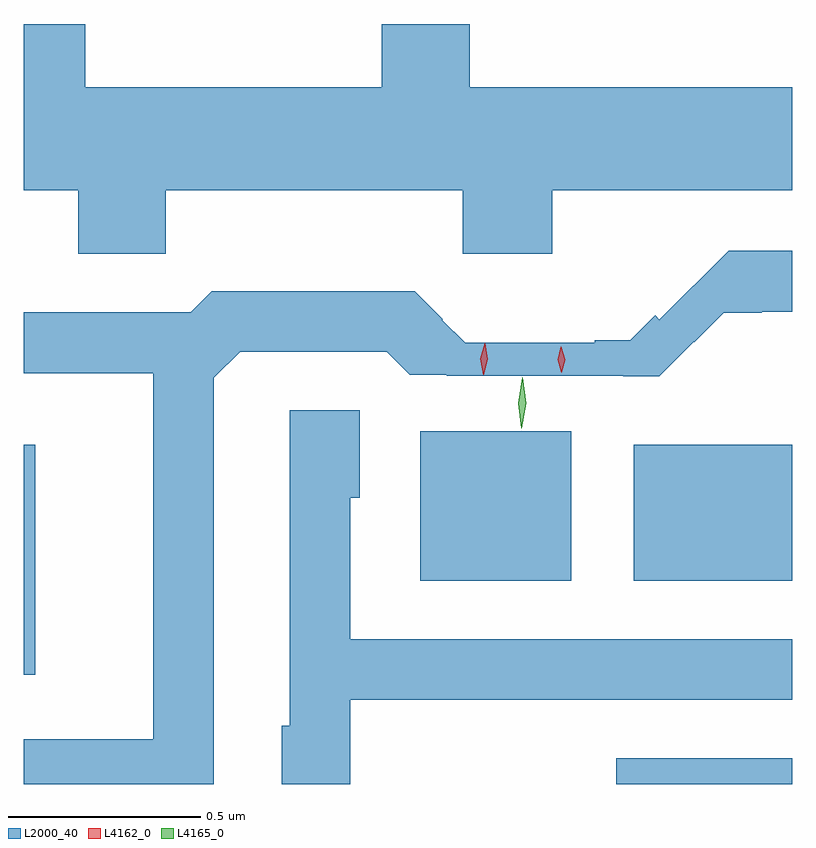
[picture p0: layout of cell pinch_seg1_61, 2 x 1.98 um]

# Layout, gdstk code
import gdstk
lib = gdstk.Library(unit=1e-6, precision=1e-09)
def R(c, l, rs):  # rectangles x0, y0, x1, y1
    for r in rs: c.add(gdstk.rectangle(r[:2], r[2:], *l))
def P(c, l, *ps):  # polygons
    for p in ps: c.add(gdstk.Polygon(p, *l))
L2000_40 = (2000, 40)
L4162_0 = (4162, 0)
L4165_0 = (4165, 0)

pinch_seg1_61 = lib.new_cell('pinch_seg1_61')
R(pinch_seg1_61, L2000_40, [(1388.631,900.252,1389.089,900.319), (1387.089,900.536,1387.119,901.134), (1388.121,900.781,1388.514,901.169), (1388.676,900.781,1389.089,901.134)])
P(pinch_seg1_61, L2000_40, [(1387.459,901.796),(1388.231,901.796),(1388.231,901.631),(1388.464,901.631),(1388.464,901.796),(1389.089,901.796),(1389.089,902.064),(1388.249,902.064),(1388.249,902.229),(1388.021,902.229),(1388.021,902.064),(1387.249,902.064),(1387.249,902.229),(1387.089,902.229),(1387.089,901.796),(1387.231,901.796),(1387.231,901.631),(1387.459,901.631)],
  [(1387.584,901.309),(1387.652,901.376),(1388.034,901.376),(1388.093,901.317),(1388.19,901.317),(1388.19,901.314),(1388.649,901.314),(1388.649,901.313),(1388.742,901.313),(1388.832,901.402),(1388.834,901.401),(1388.911,901.478),(1389.009,901.478),(1389.009,901.481),(1389.089,901.481),(1389.089,901.639),(1388.923,901.639),(1388.743,901.46),(1388.732,901.471),(1388.667,901.406),(1388.575,901.406),(1388.575,901.4),(1388.238,901.4),(1388.178,901.459),(1388.18,901.461),(1388.107,901.534),(1387.579,901.534),(1387.524,901.479),(1387.089,901.479),(1387.089,901.321),(1387.426,901.321),(1387.426,900.369),(1387.089,900.369),(1387.089,900.252),(1387.584,900.252)],
  [(1387.939,900.471),(1389.089,900.471),(1389.089,900.629),(1387.939,900.629),(1387.939,900.996),(1387.964,900.996),(1387.964,901.224),(1387.781,901.224),(1387.781,900.404),(1387.761,900.404),(1387.761,900.252),(1387.939,900.252)])
P(pinch_seg1_61, L4162_0, [(1388.489,901.322),(1388.488,901.323),(1388.478,901.356),(1388.487,901.389),(1388.488,901.39),(1388.488,901.389),(1388.498,901.356),(1388.489,901.323)],
  [(1388.285,901.316),(1388.285,901.317),(1388.277,901.358),(1388.289,901.398),(1388.289,901.398),(1388.29,901.398),(1388.297,901.357),(1388.286,901.317)])
P(pinch_seg1_61, L4165_0, [(1388.384,901.177),(1388.376,901.243),(1388.386,901.309),(1388.386,901.31),(1388.387,901.309),(1388.396,901.243),(1388.385,901.177),(1388.385,901.177)])

lib.write_gds('pinch_seg1_61.gds')
